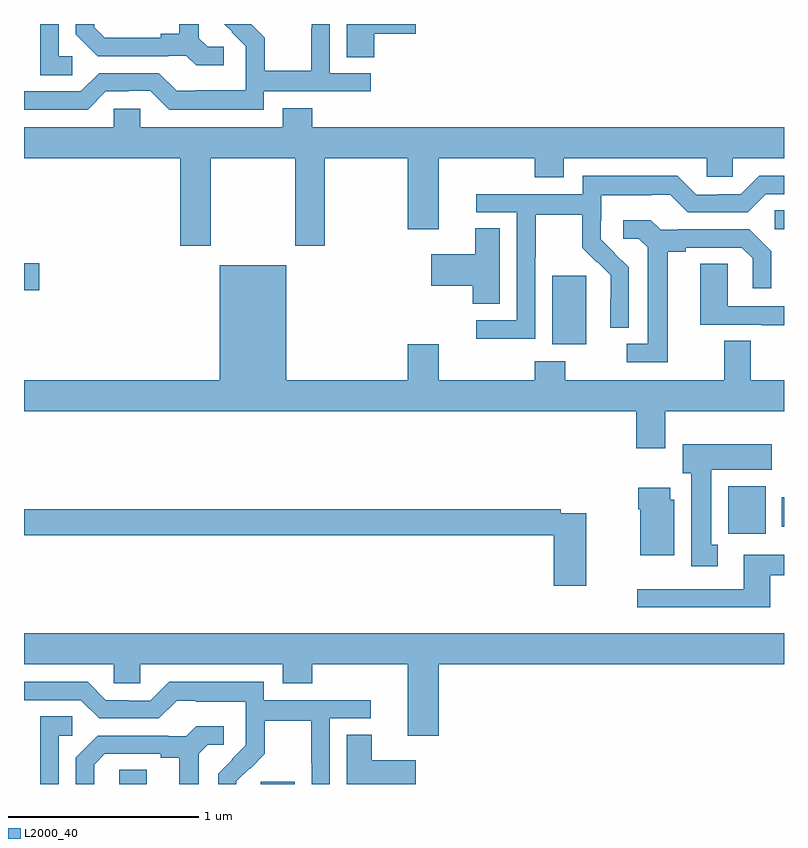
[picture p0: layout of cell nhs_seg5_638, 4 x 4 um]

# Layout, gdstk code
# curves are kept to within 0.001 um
import gdstk
lib = gdstk.Library(unit=1e-6, precision=1e-09)
def R(c, l, rs):  # rectangles x0, y0, x1, y1
    for r in rs: c.add(gdstk.rectangle(r[:2], r[2:], *l))
def P(c, l, *ps):  # polygons
    for p in ps: c.add(gdstk.Polygon(p, *l))
L2000_40 = (2000, 40)

nhs_seg5_638 = lib.new_cell('nhs_seg5_638')
R(nhs_seg5_638, L2000_40, [(151.5,854.799,151.645,854.873), (152.246,854.799,152.425,854.811), (154.707,856.116,154.903,856.366), (154.988,856.152,155,856.308), (153.779,857.114,153.958,857.475), (151,857.398,151.081,857.54), (154.95,857.718,155,857.819)])
P(nhs_seg5_638, L2000_40, [(152.05,858.678),(151.968,858.678),(151.921,858.725),(151.921,858.799),(151.817,858.799),(151.817,858.749),(151.721,858.749),(151.721,858.726),(151.426,858.726),(151.369,858.783),(151.369,858.799),(151.272,858.799),(151.272,858.746),(151.388,858.63),(151.76,858.63),(151.76,858.633),(151.854,858.633),(151.906,858.581),(152.05,858.581)],
  [(152.843,858.749),(153.061,858.749),(153.061,858.799),(152.699,858.799),(152.699,858.625),(152.843,858.625)],
  [(152.262,858.444),(152.824,858.444),(152.824,858.54),(152.61,858.54),(152.61,858.799),(152.514,858.799),(152.514,858.776),(152.512,858.776),(152.512,858.553),(152.267,858.553),(152.267,858.727),(152.195,858.799),(152.053,858.799),(152.168,858.682),(152.168,858.585),(152.166,858.585),(152.166,858.451),(151.903,858.451),(151.903,858.447),(151.803,858.447),(151.71,858.54),(151.395,858.54),(151.299,858.444),(151,858.444),(151,858.348),(151.335,858.348),(151.431,858.444),(151.55,858.444),(151.55,858.447),(151.665,858.447),(151.765,858.347),(152.262,858.347)],
  [(151.255,858.63),(151.182,858.63),(151.182,858.799),(151.086,858.799),(151.086,858.529),(151.255,858.529)],
  [(151.983,858.092),(152.428,858.092),(152.428,857.631),(152.583,857.631),(152.583,858.092),(153.02,858.092),(153.02,857.718),(153.184,857.718),(153.184,858.092),(153.689,858.092),(153.689,857.993),(153.841,857.993),(153.841,858.092),(154.593,858.092),(154.593,857.994),(154.731,857.994),(154.731,858.092),(155,858.092),(155,858.256),(152.516,858.256),(152.516,858.355),(152.363,858.355),(152.363,858.256),(151.611,858.256),(151.611,858.354),(151.473,858.354),(151.473,858.256),(151,858.256),(151,858.092),(151.823,858.092),(151.823,857.631),(151.983,857.631)],
  [(153.69,857.572),(153.693,857.572),(153.693,857.796),(153.937,857.796),(153.937,857.621),(154.014,857.544),(154.017,857.547),(154.088,857.477),(154.088,857.354),(154.086,857.354),(154.086,857.2),(154.182,857.2),(154.182,857.518),(154.036,857.666),(154.036,857.763),(154.038,857.763),(154.038,857.897),(154.301,857.897),(154.301,857.901),(154.401,857.901),(154.494,857.808),(154.809,857.808),(154.905,857.904),(155,857.904),(155,858),(154.869,858),(154.773,857.904),(154.655,857.904),(154.655,857.901),(154.539,857.901),(154.439,858.001),(153.942,858.001),(153.942,857.904),(153.381,857.904),(153.381,857.808),(153.594,857.808),(153.594,857.241),(153.381,857.241),(153.381,857.143),(153.69,857.143)],
  [(154.387,857.6),(154.483,857.6),(154.483,857.622),(154.778,857.622),(154.835,857.565),(154.835,857.409),(154.932,857.409),(154.932,857.602),(154.816,857.718),(154.444,857.718),(154.444,857.715),(154.35,857.715),(154.298,857.767),(154.155,857.767),(154.155,857.67),(154.236,857.67),(154.283,857.623),(154.283,857.115),(154.173,857.115),(154.173,857.019),(154.387,857.019)],
  [(153.505,857.723),(153.374,857.723),(153.374,857.587),(153.144,857.587),(153.144,857.422),(153.362,857.422),(153.362,857.326),(153.505,857.326)],
  [(155,857.313),(154.704,857.313),(154.704,857.537),(154.559,857.537),(154.559,857.217),(154.883,857.217),(154.883,857.213),(155,857.213)],
  [(154.375,856.76),(155,856.76),(155,856.924),(154.825,856.924),(154.825,857.132),(154.685,857.132),(154.685,856.924),(153.849,856.924),(153.849,857.023),(153.689,857.023),(153.689,856.924),(153.184,856.924),(153.184,857.113),(153.02,857.113),(153.02,856.924),(152.38,856.924),(152.38,857.53),(152.03,857.53),(152.03,856.924),(151,856.924),(151,856.76),(154.223,856.76),(154.223,856.566),(154.375,856.566)],
  [(154.651,856.057),(154.618,856.057),(154.618,856.454),(154.936,856.454),(154.936,856.588),(154.466,856.588),(154.466,856.434),(154.511,856.434),(154.511,855.945),(154.651,855.945)],
  [(154.423,856.296),(154.402,856.296),(154.402,856.357),(154.232,856.357),(154.232,856.244),(154.244,856.244),(154.244,856.004),(154.423,856.004)],
  [(153.958,856.224),(153.824,856.224),(153.824,856.244),(151,856.244),(151,856.108),(153.788,856.108),(153.788,855.843),(153.958,855.843)],
  [(154.927,855.897),(155,855.897),(155,856.006),(154.787,856.006),(154.787,855.825),(154.227,855.825),(154.227,855.728),(154.927,855.728)],
  [(153.184,855.428),(155,855.428),(155,855.592),(151,855.592),(151,855.428),(151.473,855.428),(151.473,855.33),(151.611,855.33),(151.611,855.428),(152.363,855.428),(152.363,855.329),(152.516,855.329),(152.516,855.428),(153.02,855.428),(153.02,855.054),(153.184,855.054)],
  [(152.117,854.813),(152.187,854.883),(152.19,854.88),(152.267,854.957),(152.267,855.132),(152.512,855.132),(152.512,854.908),(152.514,854.908),(152.514,854.799),(152.61,854.799),(152.61,855.144),(152.824,855.144),(152.824,855.24),(152.262,855.24),(152.262,855.337),(151.765,855.337),(151.665,855.237),(151.55,855.237),(151.55,855.24),(151.431,855.24),(151.335,855.336),(151,855.336),(151,855.24),(151.299,855.24),(151.395,855.144),(151.71,855.144),(151.803,855.237),(151.903,855.237),(151.903,855.233),(152.166,855.233),(152.166,855.099),(152.168,855.099),(152.168,855.002),(152.022,854.854),(152.022,854.799),(152.117,854.799)],
  [(151.182,855.054),(151.255,855.054),(151.255,855.155),(151.086,855.155),(151.086,854.799),(151.182,854.799)],
  [(151.369,854.901),(151.426,854.958),(151.721,854.958),(151.721,854.936),(151.817,854.936),(151.817,854.799),(151.921,854.799),(151.921,854.959),(151.968,855.006),(152.05,855.006),(152.05,855.103),(151.906,855.103),(151.854,855.051),(151.76,855.051),(151.76,855.054),(151.388,855.054),(151.272,854.938),(151.272,854.799),(151.369,854.799)],
  [(153.061,854.923),(152.83,854.923),(152.83,855.059),(152.699,855.059),(152.699,854.799),(153.061,854.799)])

lib.write_gds('nhs_seg5_638.gds')
